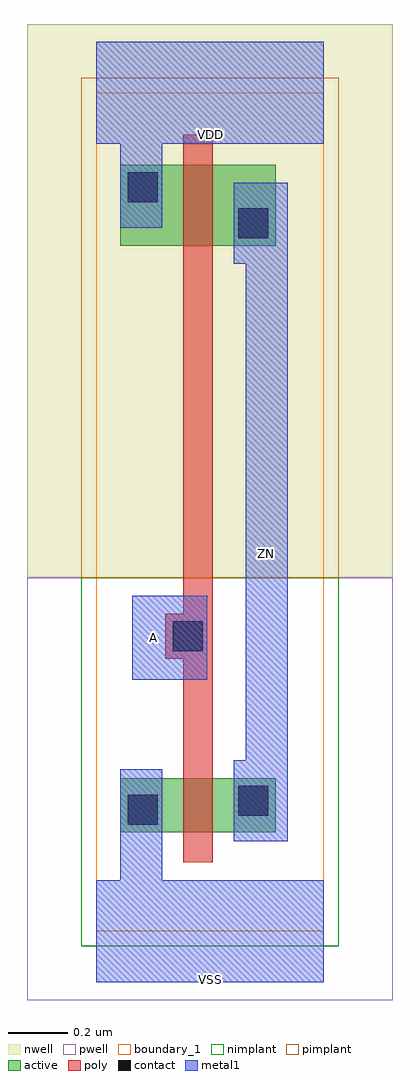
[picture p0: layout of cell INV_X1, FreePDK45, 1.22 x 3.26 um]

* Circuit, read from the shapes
.subckt INV_X1 A VDD VSS ZN
M1 ZN A VSS VSUBS nfet w=0.18u l=0.1u
M2 ZN A VDD n1 pfet w=0.27u l=0.1u
.ends

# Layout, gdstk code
import gdstk
lib = gdstk.Library(unit=1e-6, precision=1e-09)
def R(c, l, rs):  # rectangles x0, y0, x1, y1
    for r in rs: c.add(gdstk.rectangle(r[:2], r[2:], *l))
def P(c, l, *ps):  # polygons
    for p in ps: c.add(gdstk.Polygon(p, *l))
active = (1, 0)
pwell = (2, 0)
nwell = (3, 0)
nimplant = (4, 0)
pimplant = (5, 0)
poly = (9, 0)
contact = (10, 0)
metal1 = (11, 0)
boundary_1 = (235, 1)

inv_x1 = lib.new_cell('INV_X1')
R(inv_x1, active, [(0.08,0.33,0.6,0.51), (0.08,2.29,0.6,2.56)])
R(inv_x1, pwell, [(-0.23,-0.23,0.99,1.18)])
R(inv_x1, nwell, [(-0.23,1.18,0.99,3.03)])
R(inv_x1, nimplant, [(-0.05,-0.05,0.81,1.18)])
R(inv_x1, pimplant, [(-0.05,1.18,0.81,2.85)])
P(inv_x1, poly, [(0.23,0.91),(0.29,0.91),(0.29,0.23),(0.39,0.23),(0.39,2.66),(0.29,2.66),(0.29,1.06),(0.23,1.06)])
R(inv_x1, contact, [(0.105,0.355,0.205,0.455), (0.475,0.385,0.575,0.485), (0.255,0.935,0.355,1.035), (0.475,2.315,0.575,2.415), (0.105,2.435,0.205,2.535)])
R(inv_x1, metal1, [(0.12,0.84,0.37,1.12), (0.12,0.84,0.37,1.12)])
P(inv_x1, metal1, [(0.46,2.23),(0.5,2.23),(0.5,0.57),(0.46,0.57),(0.46,0.3),(0.64,0.3),(0.64,2.5),(0.46,2.5)],
  [(0,-0.17),(0.76,-0.17),(0.76,0.17),(0.22,0.17),(0.22,0.54),(0.08,0.54),(0.08,0.17),(0,0.17)],
  [(0,2.63),(0.08,2.63),(0.08,2.35),(0.22,2.35),(0.22,2.63),(0.76,2.63),(0.76,2.97),(0,2.97)],
  [(0,2.63),(0.08,2.63),(0.08,2.35),(0.22,2.35),(0.22,2.63),(0.76,2.63),(0.76,2.97),(0,2.97)],
  [(0,-0.17),(0.76,-0.17),(0.76,0.17),(0.22,0.17),(0.22,0.54),(0.08,0.54),(0.08,0.17),(0,0.17)],
  [(0.46,2.23),(0.5,2.23),(0.5,0.57),(0.46,0.57),(0.46,0.3),(0.64,0.3),(0.64,2.5),(0.46,2.5)])
R(inv_x1, boundary_1, [(0,0,0.76,2.8)])
inv_x1.add(gdstk.Label('ZN', (0.57,1.26), layer=11, texttype=0))
inv_x1.add(gdstk.Label('VSS', (0.38,-0.16), layer=11, texttype=0))
inv_x1.add(gdstk.Label('VDD', (0.38,2.66), layer=11, texttype=0))
inv_x1.add(gdstk.Label('A', (0.19,0.98), layer=11, texttype=0))

lib.write_gds('INV_X1.gds')
